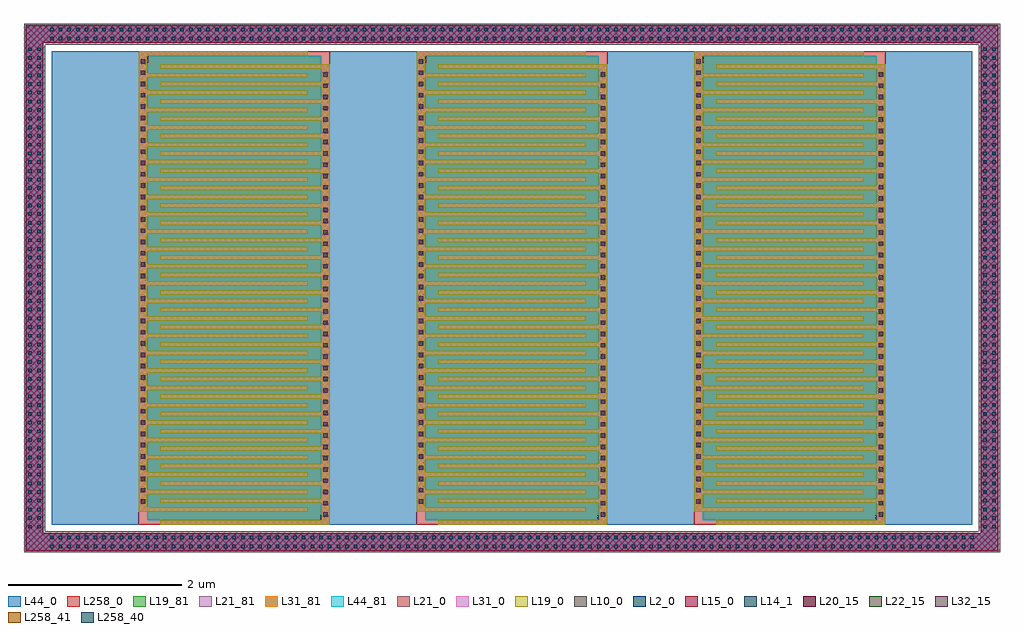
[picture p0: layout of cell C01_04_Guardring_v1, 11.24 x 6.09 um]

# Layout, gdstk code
from math import pi, radians
import gdstk
lib = gdstk.Library(unit=1e-6, precision=1e-09)
def R(c, l, rs):  # rectangles x0, y0, x1, y1
    for r in rs: c.add(gdstk.rectangle(r[:2], r[2:], *l))
def A(c, l, x, y, w, h, nx, ny, dx, dy):  # array of equal rectangles
    R(c, l, [(x+i*dx, y+j*dy, x+i*dx+w, y+j*dy+h) for i in range(nx) for j in range(ny)])
L2_0 = (2, 0)
L10_0 = (10, 0)
L14_1 = (14, 1)
L15_0 = (15, 0)
L19_0 = (19, 0)
L19_81 = (19, 81)
L20_15 = (20, 15)
L21_0 = (21, 0)
L21_81 = (21, 81)
L22_15 = (22, 15)
L31_0 = (31, 0)
L31_81 = (31, 81)
L32_15 = (32, 15)
L44_0 = (44, 0)
L44_81 = (44, 81)
L258_0 = (258, 0)
L258_40 = (258, 40)
L258_41 = (258, 41)

c01_04_guardring_v1_srf_ = lib.new_cell('C01_04_Guardring_v1:SRF_Array:SRF_HDVNCAP:SRF_FingerArray:SRF_FingerPair')
R(c01_04_guardring_v1_srf_, L19_0, [(0.1,-0.15,0.15,1.7), (0,0,0.05,1.85)])
R(c01_04_guardring_v1_srf_, L21_0, [(0.1,-0.15,0.15,1.7), (0,0,0.05,1.85)])
R(c01_04_guardring_v1_srf_, L31_0, [(0.1,-0.15,0.15,1.7), (0,0,0.05,1.85)])
R(c01_04_guardring_v1_srf_, L44_0, [(0.1,-0.15,0.15,1.7), (0,0,0.05,1.85)])

c_c01_04_guardring_v1_srf_ = lib.new_cell('C01_04_Guardring_v1:SRF_Array:SRF_HDVNCAP:SRF_FingerArray')
c_c01_04_guardring_v1_srf_.add(gdstk.Reference(c01_04_guardring_v1_srf_, (0,0)))
c_c01_04_guardring_v1_srf_.add(gdstk.Reference(c01_04_guardring_v1_srf_, (0.2,0)))
c_c01_04_guardring_v1_srf_.add(gdstk.Reference(c01_04_guardring_v1_srf_, (0.4,0)))
c_c01_04_guardring_v1_srf_.add(gdstk.Reference(c01_04_guardring_v1_srf_, (0.6,0)))
c_c01_04_guardring_v1_srf_.add(gdstk.Reference(c01_04_guardring_v1_srf_, (0.8,0)))
c_c01_04_guardring_v1_srf_.add(gdstk.Reference(c01_04_guardring_v1_srf_, (1,0)))
c_c01_04_guardring_v1_srf_.add(gdstk.Reference(c01_04_guardring_v1_srf_, (1.2,0)))
c_c01_04_guardring_v1_srf_.add(gdstk.Reference(c01_04_guardring_v1_srf_, (1.4,0)))
c_c01_04_guardring_v1_srf_.add(gdstk.Reference(c01_04_guardring_v1_srf_, (1.6,0)))
c_c01_04_guardring_v1_srf_.add(gdstk.Reference(c01_04_guardring_v1_srf_, (1.8,0)))
c_c01_04_guardring_v1_srf_.add(gdstk.Reference(c01_04_guardring_v1_srf_, (2,0)))
c_c01_04_guardring_v1_srf_.add(gdstk.Reference(c01_04_guardring_v1_srf_, (2.2,0)))
c_c01_04_guardring_v1_srf_.add(gdstk.Reference(c01_04_guardring_v1_srf_, (2.4,0)))
c_c01_04_guardring_v1_srf_.add(gdstk.Reference(c01_04_guardring_v1_srf_, (2.6,0)))
c_c01_04_guardring_v1_srf_.add(gdstk.Reference(c01_04_guardring_v1_srf_, (2.8,0)))
c_c01_04_guardring_v1_srf_.add(gdstk.Reference(c01_04_guardring_v1_srf_, (3,0)))
c_c01_04_guardring_v1_srf_.add(gdstk.Reference(c01_04_guardring_v1_srf_, (3.2,0)))
c_c01_04_guardring_v1_srf_.add(gdstk.Reference(c01_04_guardring_v1_srf_, (3.4,0)))
c_c01_04_guardring_v1_srf_.add(gdstk.Reference(c01_04_guardring_v1_srf_, (3.6,0)))
c_c01_04_guardring_v1_srf_.add(gdstk.Reference(c01_04_guardring_v1_srf_, (3.8,0)))
c_c01_04_guardring_v1_srf_.add(gdstk.Reference(c01_04_guardring_v1_srf_, (4,0)))
c_c01_04_guardring_v1_srf_.add(gdstk.Reference(c01_04_guardring_v1_srf_, (4.2,0)))
c_c01_04_guardring_v1_srf_.add(gdstk.Reference(c01_04_guardring_v1_srf_, (4.4,0)))
c_c01_04_guardring_v1_srf_.add(gdstk.Reference(c01_04_guardring_v1_srf_, (4.6,0)))
c_c01_04_guardring_v1_srf_.add(gdstk.Reference(c01_04_guardring_v1_srf_, (4.8,0)))
c_c01_04_guardring_v1_srf_.add(gdstk.Reference(c01_04_guardring_v1_srf_, (5,0)))

c_c01_04_guardring_v1_srf__ = lib.new_cell('C01_04_Guardring_v1:SRF_Array:SRF_HDVNCAP:SRF_Via0_PortA_Hrz:SRF_ViaM3M4')
R(c_c01_04_guardring_v1_srf__, L19_0, [(-0.032,0,5.152,0.05)])
A(c_c01_04_guardring_v1_srf__, L20_15, 0, 0, 0.05, 0.05, 40, 1, 0.13, 0)
R(c_c01_04_guardring_v1_srf__, L21_0, [(-0.032,0,5.152,0.05)])

c_c01_04_guardring_v1_srf___ = lib.new_cell('C01_04_Guardring_v1:SRF_Array:SRF_HDVNCAP:SRF_Via0_PortA_Hrz')
c_c01_04_guardring_v1_srf___.add(gdstk.Reference(c_c01_04_guardring_v1_srf__, (-2.56,-0.025)))

c_c01_04_guardring_v1_srf____ = lib.new_cell('C01_04_Guardring_v1:SRF_Array:SRF_HDVNCAP:SRF_Via1_PortA_Hrz:SRF_ViaM4M5')
R(c_c01_04_guardring_v1_srf____, L21_0, [(-0.032,0,5.152,0.05)])
A(c_c01_04_guardring_v1_srf____, L22_15, 0, 0, 0.05, 0.05, 40, 1, 0.13, 0)
R(c_c01_04_guardring_v1_srf____, L31_0, [(-0.032,0,5.152,0.05)])

c_c01_04_guardring_v1_srf_____ = lib.new_cell('C01_04_Guardring_v1:SRF_Array:SRF_HDVNCAP:SRF_Via1_PortA_Hrz')
c_c01_04_guardring_v1_srf_____.add(gdstk.Reference(c_c01_04_guardring_v1_srf____, (-2.56,-0.025)))

c_c01_04_guardring_v1_srf______ = lib.new_cell('C01_04_Guardring_v1:SRF_Array:SRF_HDVNCAP:SRF_Via2_PortA_Hrz:SRF_ViaM5M6')
R(c_c01_04_guardring_v1_srf______, L31_0, [(-0.032,0,5.152,0.05)])
A(c_c01_04_guardring_v1_srf______, L32_15, 0, 0, 0.05, 0.05, 40, 1, 0.13, 0)
R(c_c01_04_guardring_v1_srf______, L44_0, [(-0.032,0,5.152,0.05)])

c_c01_04_guardring_v1_srf_______ = lib.new_cell('C01_04_Guardring_v1:SRF_Array:SRF_HDVNCAP:SRF_Via2_PortA_Hrz')
c_c01_04_guardring_v1_srf_______.add(gdstk.Reference(c_c01_04_guardring_v1_srf______, (-2.56,-0.025)))

c_c01_04_guardring_v1_srf________ = lib.new_cell('C01_04_Guardring_v1:SRF_Array:SRF_HDVNCAP:SRF_Via0_PortB_Hrz:SRF_ViaM3M4')
R(c_c01_04_guardring_v1_srf________, L19_0, [(-0.032,0,5.152,0.05)])
A(c_c01_04_guardring_v1_srf________, L20_15, 0, 0, 0.05, 0.05, 40, 1, 0.13, 0)
R(c_c01_04_guardring_v1_srf________, L21_0, [(-0.032,0,5.152,0.05)])

c_c01_04_guardring_v1_srf_________ = lib.new_cell('C01_04_Guardring_v1:SRF_Array:SRF_HDVNCAP:SRF_Via0_PortB_Hrz')
c_c01_04_guardring_v1_srf_________.add(gdstk.Reference(c_c01_04_guardring_v1_srf________, (-2.56,-0.025)))

c_c01_04_guardring_v1_srf__________ = lib.new_cell('C01_04_Guardring_v1:SRF_Array:SRF_HDVNCAP:SRF_Via1_PortB_Hrz:SRF_ViaM4M5')
R(c_c01_04_guardring_v1_srf__________, L21_0, [(-0.032,0,5.152,0.05)])
A(c_c01_04_guardring_v1_srf__________, L22_15, 0, 0, 0.05, 0.05, 40, 1, 0.13, 0)
R(c_c01_04_guardring_v1_srf__________, L31_0, [(-0.032,0,5.152,0.05)])

c_c01_04_guardring_v1_srf___________ = lib.new_cell('C01_04_Guardring_v1:SRF_Array:SRF_HDVNCAP:SRF_Via1_PortB_Hrz')
c_c01_04_guardring_v1_srf___________.add(gdstk.Reference(c_c01_04_guardring_v1_srf__________, (-2.56,-0.025)))

c_c01_04_guardring_v1_srf____________ = lib.new_cell('C01_04_Guardring_v1:SRF_Array:SRF_HDVNCAP:SRF_Via2_PortB_Hrz:SRF_ViaM5M6')
R(c_c01_04_guardring_v1_srf____________, L31_0, [(-0.032,0,5.152,0.05)])
A(c_c01_04_guardring_v1_srf____________, L32_15, 0, 0, 0.05, 0.05, 40, 1, 0.13, 0)
R(c_c01_04_guardring_v1_srf____________, L44_0, [(-0.032,0,5.152,0.05)])

c_c01_04_guardring_v1_srf_____________ = lib.new_cell('C01_04_Guardring_v1:SRF_Array:SRF_HDVNCAP:SRF_Via2_PortB_Hrz')
c_c01_04_guardring_v1_srf_____________.add(gdstk.Reference(c_c01_04_guardring_v1_srf____________, (-2.56,-0.025)))

c_c01_04_guardring_v1_srf______________ = lib.new_cell('C01_04_Guardring_v1:SRF_Array:SRF_HDVNCAP')
R(c_c01_04_guardring_v1_srf______________, L19_0, [(-0.15,-0.25,5.15,-0.15), (-0.15,-0.25,-0.1,1.7), (5.25,0,5.3,1.95), (0,1.85,5.3,1.95)])
R(c_c01_04_guardring_v1_srf______________, L19_81, [(-0.1,-0.15,5.25,1.85)])
R(c_c01_04_guardring_v1_srf______________, L21_0, [(-0.15,-0.25,5.15,-0.15), (-0.15,-0.25,-0.1,1.7), (5.25,0,5.3,1.95), (0,1.85,5.3,1.95)])
R(c_c01_04_guardring_v1_srf______________, L21_81, [(-0.1,-0.15,5.25,1.85)])
R(c_c01_04_guardring_v1_srf______________, L31_0, [(-0.15,-0.25,5.15,-0.15), (-0.15,-0.25,-0.1,1.7), (5.25,0,5.3,1.95), (0,1.85,5.3,1.95)])
R(c_c01_04_guardring_v1_srf______________, L31_81, [(-0.1,-0.15,5.25,1.85)])
R(c_c01_04_guardring_v1_srf______________, L44_0, [(-0.15,-0.25,5.15,-0.15), (-0.15,-0.25,-0.1,1.7), (5.25,0,5.3,1.95), (0,1.85,5.3,1.95)])
R(c_c01_04_guardring_v1_srf______________, L44_81, [(-0.1,-0.15,5.25,1.85)])
R(c_c01_04_guardring_v1_srf______________, L258_0, [(-0.15,-0.25,5.3,1.95)])
A(c_c01_04_guardring_v1_srf______________, L258_40, -0.09, -0.15, 0.01, 0.01, 3, 1, 0.02, 0)
A(c_c01_04_guardring_v1_srf______________, L258_41, 5.17, 1.84, 0.01, 0.01, 4, 1, 0.02, 0)
c_c01_04_guardring_v1_srf______________.add(gdstk.Reference(c_c01_04_guardring_v1_srf_, (0,0)))
c_c01_04_guardring_v1_srf______________.add(gdstk.Reference(c_c01_04_guardring_v1_srf___, (2.65,1.9)))
c_c01_04_guardring_v1_srf______________.add(gdstk.Reference(c_c01_04_guardring_v1_srf_____, (2.65,1.9)))
c_c01_04_guardring_v1_srf______________.add(gdstk.Reference(c_c01_04_guardring_v1_srf_______, (2.65,1.9)))
c_c01_04_guardring_v1_srf______________.add(gdstk.Reference(c_c01_04_guardring_v1_srf_________, (2.5,-0.2)))
c_c01_04_guardring_v1_srf______________.add(gdstk.Reference(c_c01_04_guardring_v1_srf___________, (2.5,-0.2)))
c_c01_04_guardring_v1_srf______________.add(gdstk.Reference(c_c01_04_guardring_v1_srf_____________, (2.5,-0.2)))

c_c01_04_guardring_v1_srf_______________ = lib.new_cell('C01_04_Guardring_v1:SRF_Array')
A(c_c01_04_guardring_v1_srf_______________, L44_0, 0, 0, 1, 5.45, 4, 1, 3.2, 0)
c_c01_04_guardring_v1_srf_______________.add(gdstk.Reference(c_c01_04_guardring_v1_srf______________, (2.95,0.15), rotation=pi/2))
c_c01_04_guardring_v1_srf_______________.add(gdstk.Reference(c_c01_04_guardring_v1_srf______________, (6.15,0.15), rotation=pi/2))
c_c01_04_guardring_v1_srf_______________.add(gdstk.Reference(c_c01_04_guardring_v1_srf______________, (9.35,0.15), rotation=pi/2))

c01_04_guardring_v1__pbo = lib.new_cell('C01_04_Guardring_v1:_Pbodyring:SRF_PbodyTop:SRF_PbodyContactPhyLen')
R(c01_04_guardring_v1__pbo, L2_0, [(-0.08,-0.13,10.72,0.07)])
R(c01_04_guardring_v1__pbo, L10_0, [(-0.101,-0.151,10.741,0.091)])
A(c01_04_guardring_v1__pbo, L14_1, 0, -0.1, 0.04, 0.04, 107, 2, 0.1, 0.1)
R(c01_04_guardring_v1__pbo, L15_0, [(-0.08,-0.13,10.72,0.07)])

c_c01_04_guardring_v1__pbo = lib.new_cell('C01_04_Guardring_v1:_Pbodyring:SRF_PbodyTop')
c_c01_04_guardring_v1__pbo.add(gdstk.Reference(c01_04_guardring_v1__pbo, (0,0)))

c_c01_04_guardring_v1__pbo_ = lib.new_cell('C01_04_Guardring_v1:_Pbodyring:SRF_PbodyBottom:SRF_PbodyContactPhyLen')
R(c_c01_04_guardring_v1__pbo_, L2_0, [(-0.08,-0.13,10.72,0.07)])
R(c_c01_04_guardring_v1__pbo_, L10_0, [(-0.101,-0.151,10.741,0.091)])
A(c_c01_04_guardring_v1__pbo_, L14_1, 0, -0.1, 0.04, 0.04, 107, 2, 0.1, 0.1)
R(c_c01_04_guardring_v1__pbo_, L15_0, [(-0.08,-0.13,10.72,0.07)])

c_c01_04_guardring_v1__pbo__ = lib.new_cell('C01_04_Guardring_v1:_Pbodyring:SRF_PbodyBottom')
c_c01_04_guardring_v1__pbo__.add(gdstk.Reference(c_c01_04_guardring_v1__pbo_, (0,0)))

c_c01_04_guardring_v1__pbo___ = lib.new_cell('C01_04_Guardring_v1:_Pbodyring:SRF_PbodyLeft:SRF_PbodyContactPhyLen')
R(c_c01_04_guardring_v1__pbo___, L2_0, [(-0.03,-5.555,0.17,0.095)])
R(c_c01_04_guardring_v1__pbo___, L10_0, [(-0.051,-5.576,0.191,0.116)])
A(c_c01_04_guardring_v1__pbo___, L14_1, 0, -5.5, 0.04, 0.04, 1, 56, 0, 0.1)
A(c_c01_04_guardring_v1__pbo___, L14_1, 0.1, -5.5, 0.04, 0.04, 1, 56, 0, 0.1)
R(c_c01_04_guardring_v1__pbo___, L15_0, [(-0.03,-5.555,0.17,0.095)])

c_c01_04_guardring_v1__pbo____ = lib.new_cell('C01_04_Guardring_v1:_Pbodyring:SRF_PbodyLeft')
c_c01_04_guardring_v1__pbo____.add(gdstk.Reference(c_c01_04_guardring_v1__pbo___, (0,0)))

c_c01_04_guardring_v1__pbo_____ = lib.new_cell('C01_04_Guardring_v1:_Pbodyring:SRF_PbodyRight:SRF_PbodyContactPhyLen')
R(c_c01_04_guardring_v1__pbo_____, L2_0, [(-0.03,-5.555,0.17,0.095)])
R(c_c01_04_guardring_v1__pbo_____, L10_0, [(-0.051,-5.576,0.191,0.116)])
A(c_c01_04_guardring_v1__pbo_____, L14_1, 0, -5.5, 0.04, 0.04, 1, 56, 0, 0.1)
A(c_c01_04_guardring_v1__pbo_____, L14_1, 0.1, -5.5, 0.04, 0.04, 1, 56, 0, 0.1)
R(c_c01_04_guardring_v1__pbo_____, L15_0, [(-0.03,-5.555,0.17,0.095)])

c_c01_04_guardring_v1__pbo______ = lib.new_cell('C01_04_Guardring_v1:_Pbodyring:SRF_PbodyRight')
c_c01_04_guardring_v1__pbo______.add(gdstk.Reference(c_c01_04_guardring_v1__pbo_____, (0,0)))

c_c01_04_guardring_v1__pbo_______ = lib.new_cell('C01_04_Guardring_v1:_Pbodyring')
R(c_c01_04_guardring_v1__pbo_______, L2_0, [(-0.28,-5.98,10.92,-5.78), (-0.28,-5.98,-0.08,0.07), (10.72,-5.98,10.92,0.07), (-0.28,-0.13,10.92,0.07)])
R(c_c01_04_guardring_v1__pbo_______, L10_0, [(-0.301,-6.001,10.941,-5.759), (-0.301,-6.001,-0.059,0.091), (10.699,-6.001,10.941,0.091), (-0.301,-0.151,10.941,0.091)])
R(c_c01_04_guardring_v1__pbo_______, L15_0, [(-0.28,-5.98,10.92,-5.78), (-0.28,-5.98,-0.08,0.07), (10.72,-5.98,10.92,0.07), (-0.28,-0.13,10.92,0.07)])
c_c01_04_guardring_v1__pbo_______.add(gdstk.Reference(c_c01_04_guardring_v1__pbo, (0,0)))
c_c01_04_guardring_v1__pbo_______.add(gdstk.Reference(c_c01_04_guardring_v1__pbo__, (0,-5.85)))
c_c01_04_guardring_v1__pbo_______.add(gdstk.Reference(c_c01_04_guardring_v1__pbo____, (-0.25,-0.225)))
c_c01_04_guardring_v1__pbo_______.add(gdstk.Reference(c_c01_04_guardring_v1__pbo______, (10.75,-0.225)))

c01_04_guardring_v1 = lib.new_cell('C01_04_Guardring_v1')
c01_04_guardring_v1.add(gdstk.Reference(c_c01_04_guardring_v1_srf_______________, (0,0)))
c01_04_guardring_v1.add(gdstk.Reference(c_c01_04_guardring_v1__pbo_______, (-0.02,5.68)))

lib.write_gds('C01_04_Guardring_v1.gds')
